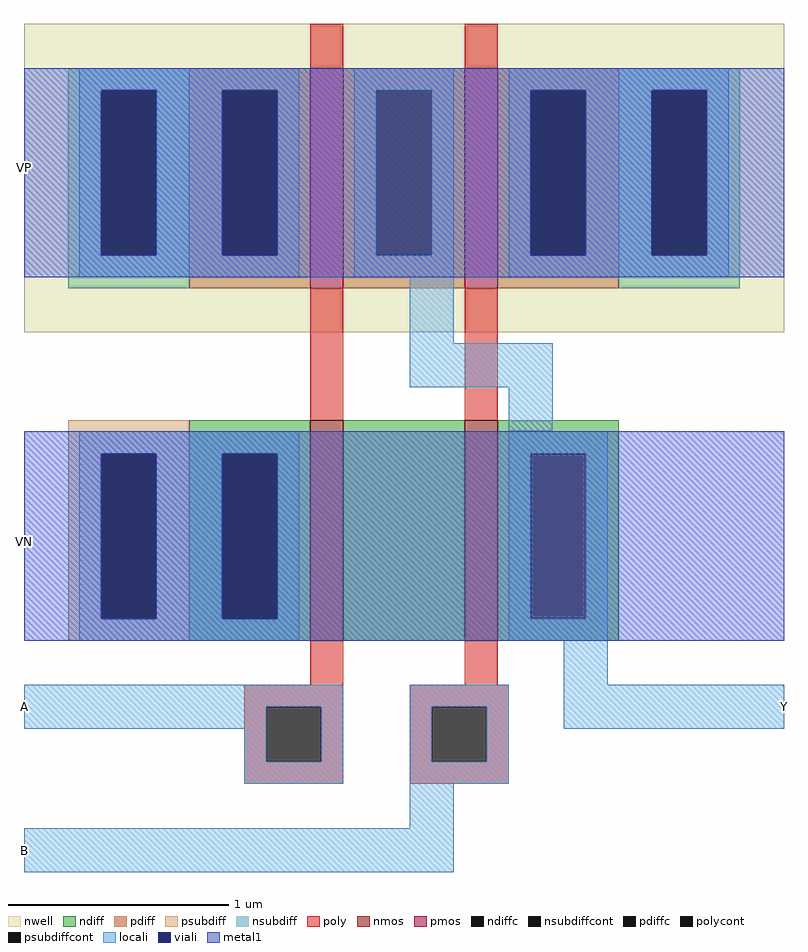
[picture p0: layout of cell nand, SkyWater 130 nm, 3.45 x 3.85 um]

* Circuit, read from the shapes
.subckt nand B A Y VN VP
XM1 n1 A VN VN sky130_fd_pr__nfet_01v8 w=1 l=0.15
XM2 Y B n1 VN sky130_fd_pr__nfet_01v8 w=1 l=0.15
XM3 Y A VP VP sky130_fd_pr__pfet_01v8 w=1 l=0.15
XM4 VP B Y VP sky130_fd_pr__pfet_01v8 w=1 l=0.15
.ends

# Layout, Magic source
magic
tech sky130A
<< nwell >>
rect -385 220 -40 360
<< nmos >>
rect -255 80 -240 180
rect -185 80 -170 180
<< pmos >>
rect -255 240 -240 340
rect -185 240 -170 340
<< ndiff >>
rect -310 165 -255 180
rect -310 90 -295 165
rect -270 90 -255 165
rect -310 80 -255 90
rect -240 80 -185 180
rect -170 165 -115 180
rect -170 90 -155 165
rect -130 90 -115 165
rect -170 80 -115 90
<< pdiff >>
rect -310 330 -255 340
rect -310 255 -295 330
rect -270 255 -255 330
rect -310 240 -255 255
rect -240 330 -185 340
rect -240 255 -225 330
rect -200 255 -185 330
rect -240 240 -185 255
rect -170 330 -115 340
rect -170 255 -155 330
rect -130 255 -115 330
rect -170 240 -115 255
<< ndiffc >>
rect -295 90 -270 165
rect -155 90 -130 165
<< pdiffc >>
rect -295 255 -270 330
rect -225 255 -200 330
rect -155 255 -130 330
<< psubdiff >>
rect -365 165 -310 180
rect -365 90 -350 165
rect -325 90 -310 165
rect -365 80 -310 90
<< nsubdiff >>
rect -365 330 -310 340
rect -365 255 -350 330
rect -325 255 -310 330
rect -365 240 -310 255
rect -115 330 -60 340
rect -115 255 -100 330
rect -75 255 -60 330
rect -115 240 -60 255
<< psubdiffcont >>
rect -350 90 -325 165
<< nsubdiffcont >>
rect -350 255 -325 330
rect -100 255 -75 330
<< poly >>
rect -255 340 -240 360
rect -185 340 -170 360
rect -255 180 -240 240
rect -185 180 -170 240
rect -255 60 -240 80
rect -185 60 -170 80
rect -285 50 -240 60
rect -285 25 -275 50
rect -250 25 -240 50
rect -285 15 -240 25
rect -210 50 -165 60
rect -210 25 -200 50
rect -175 25 -165 50
rect -210 15 -165 25
<< polycont >>
rect -275 25 -250 50
rect -200 25 -175 50
<< locali >>
rect -360 330 -260 340
rect -360 255 -350 330
rect -325 255 -295 330
rect -270 255 -260 330
rect -360 245 -260 255
rect -235 330 -190 340
rect -235 255 -225 330
rect -200 255 -190 330
rect -235 245 -190 255
rect -165 330 -65 340
rect -165 255 -155 330
rect -130 255 -100 330
rect -75 255 -65 330
rect -165 245 -65 255
rect -210 215 -190 245
rect -210 195 -145 215
rect -165 175 -145 195
rect -360 165 -260 175
rect -360 90 -350 165
rect -325 90 -295 165
rect -270 90 -260 165
rect -360 80 -260 90
rect -165 165 -120 175
rect -165 90 -155 165
rect -130 90 -120 165
rect -165 80 -120 90
rect -140 60 -120 80
rect -385 50 -240 60
rect -385 40 -275 50
rect -285 25 -275 40
rect -250 25 -240 50
rect -285 15 -240 25
rect -210 50 -165 60
rect -210 25 -200 50
rect -175 25 -165 50
rect -140 40 -40 60
rect -210 15 -165 25
rect -210 -5 -190 15
rect -385 -25 -190 -5
<< viali >>
rect -350 255 -325 330
rect -295 255 -270 330
rect -155 255 -130 330
rect -100 255 -75 330
rect -350 90 -325 165
rect -295 90 -270 165
<< metal1 >>
rect -385 330 -40 340
rect -385 255 -350 330
rect -325 255 -295 330
rect -270 255 -155 330
rect -130 255 -100 330
rect -75 255 -40 330
rect -385 245 -40 255
rect -385 165 -40 175
rect -385 90 -350 165
rect -325 90 -295 165
rect -270 90 -40 165
rect -385 80 -40 90
<< labels >>
rlabel locali -40 50 -40 50 3 Y
port 3 e
rlabel locali -385 -15 -385 -15 7 B
port 1 w
rlabel locali -385 50 -385 50 7 A
port 2 w
rlabel metal1 -385 125 -385 125 7 VN
port 4 w
rlabel metal1 -385 295 -385 295 7 VP
port 5 w
<< end >>
